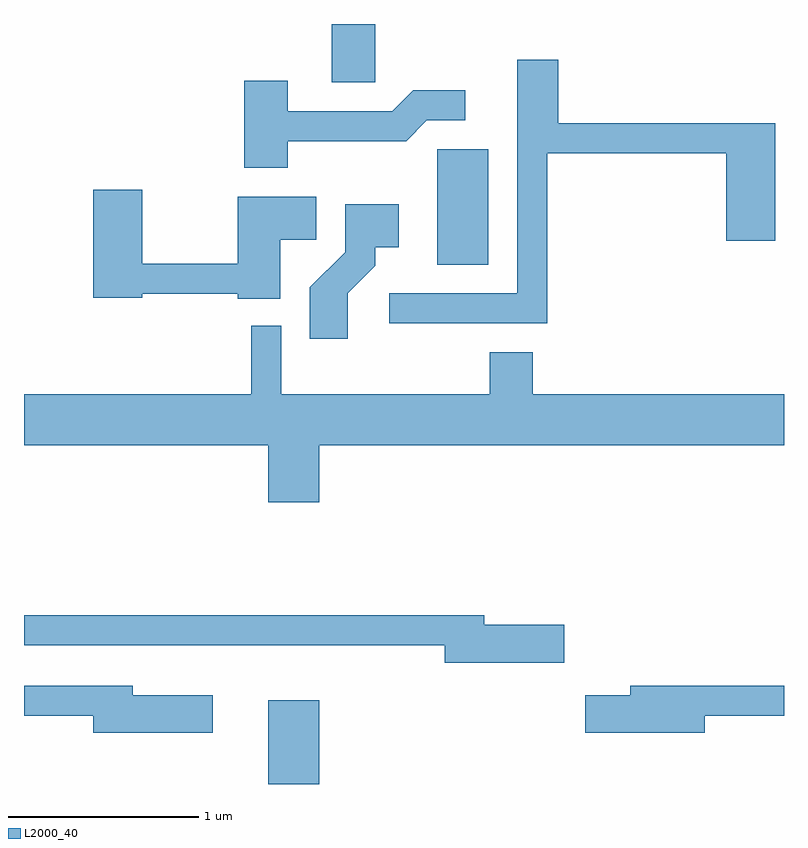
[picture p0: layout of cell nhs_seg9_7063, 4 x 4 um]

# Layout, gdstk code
import gdstk
lib = gdstk.Library(unit=1e-6, precision=1e-09)
def R(c, l, rs):  # rectangles x0, y0, x1, y1
    for r in rs: c.add(gdstk.rectangle(r[:2], r[2:], *l))
def P(c, l, *ps):  # polygons
    for p in ps: c.add(gdstk.Polygon(p, *l))
L2000_40 = (2000, 40)

nhs_seg9_7063 = lib.new_cell('nhs_seg9_7063')
R(nhs_seg9_7063, L2000_40, [(394.896,2034.432,395.164,2034.874), (395.786,2037.166,396.054,2037.774), (395.231,2038.126,395.459,2038.432)])
P(nhs_seg9_7063, L2000_40, [(396.364,2037.751),(397.306,2037.751),(397.306,2037.291),(397.564,2037.291),(397.564,2037.909),(396.424,2037.909),(396.424,2038.244),(396.206,2038.244),(396.206,2037.014),(395.533,2037.014),(395.533,2036.856),(396.364,2036.856)],
  [(394.999,2037.816),(395.622,2037.816),(395.732,2037.926),(395.933,2037.926),(395.933,2038.084),(395.659,2038.084),(395.549,2037.974),(394.999,2037.974),(394.999,2038.134),(394.771,2038.134),(394.771,2037.676),(394.999,2037.676)],
  [(394.959,2037.296),(395.149,2037.296),(395.149,2037.524),(394.736,2037.524),(394.736,2037.169),(394.234,2037.169),(394.234,2037.559),(393.976,2037.559),(393.976,2036.991),(394.234,2036.991),(394.234,2037.011),(394.736,2037.011),(394.736,2036.986),(394.959,2036.986)],
  [(395.314,2037.014),(395.459,2037.159),(395.459,2037.256),(395.584,2037.256),(395.584,2037.484),(395.301,2037.484),(395.301,2037.232),(395.116,2037.047),(395.116,2036.776),(395.314,2036.776)],
  [(395.164,2036.216),(397.611,2036.216),(397.611,2036.484),(396.289,2036.484),(396.289,2036.704),(396.061,2036.704),(396.061,2036.484),(394.964,2036.484),(394.964,2036.843),(394.806,2036.843),(394.806,2036.484),(393.611,2036.484),(393.611,2036.216),(394.896,2036.216),(394.896,2035.916),(395.164,2035.916)],
  [(396.454,2035.269),(396.034,2035.269),(396.034,2035.319),(393.611,2035.319),(393.611,2035.161),(395.826,2035.161),(395.826,2035.071),(396.454,2035.071)],
  [(397.194,2034.791),(397.611,2034.791),(397.611,2034.949),(396.801,2034.949),(396.801,2034.899),(396.566,2034.899),(396.566,2034.701),(397.194,2034.701)],
  [(394.604,2034.899),(394.184,2034.899),(394.184,2034.949),(393.611,2034.949),(393.611,2034.791),(393.976,2034.791),(393.976,2034.701),(394.604,2034.701)])

lib.write_gds('nhs_seg9_7063.gds')
